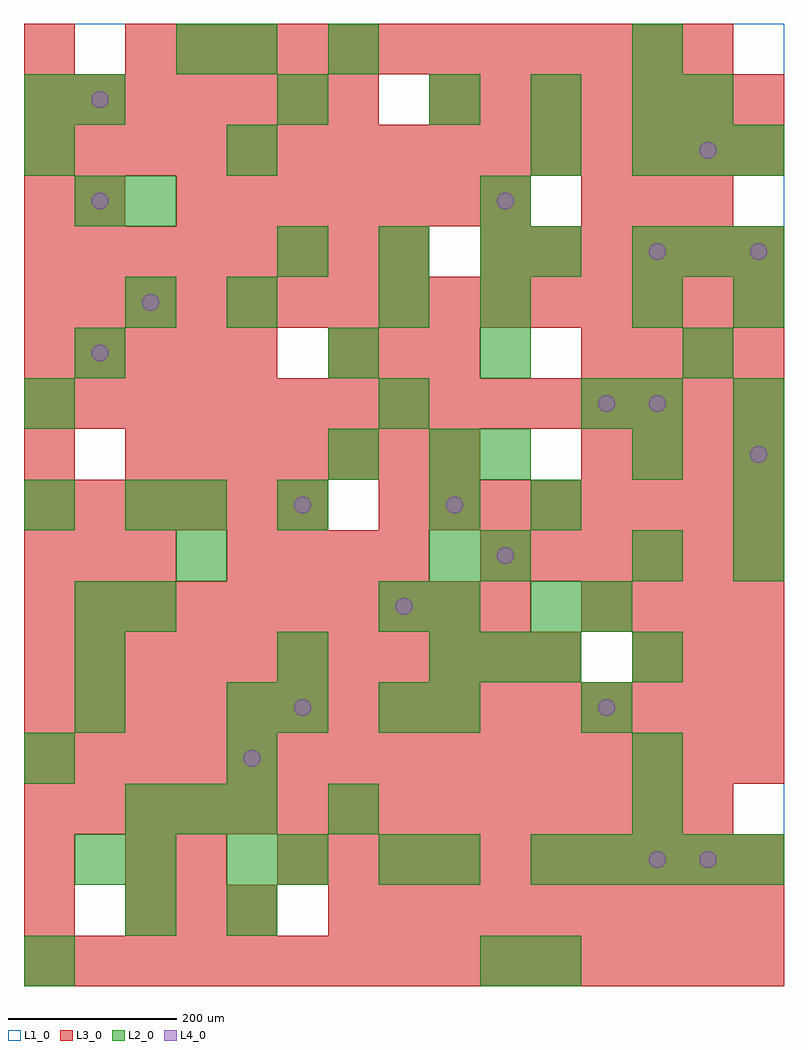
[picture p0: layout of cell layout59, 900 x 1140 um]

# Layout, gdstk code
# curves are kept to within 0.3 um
import gdstk
lib = gdstk.Library(unit=1e-6, precision=1e-09)
def R(c, l, rs):  # rectangles x0, y0, x1, y1
    for r in rs: c.add(gdstk.rectangle(r[:2], r[2:], *l))
def A(c, l, x, y, w, h, nx, ny, dx, dy):  # array of equal rectangles
    R(c, l, [(x+i*dx, y+j*dy, x+i*dx+w, y+j*dy+h) for i in range(nx) for j in range(ny)])
def P(c, l, *ps):  # polygons
    for p in ps: c.add(gdstk.Polygon(p, *l))
L1_0 = (1, 0)
L2_0 = (2, 0)
L3_0 = (3, 0)
L4_0 = (4, 0)

layout59 = lib.new_cell('layout59')
R(layout59, L1_0, [(0,0,900,1140)])
A(layout59, L2_0, 600, 120, 60, 60, 5, 1, 60, 0)
A(layout59, L2_0, 120, 180, 60, 60, 3, 1, 60, 0)
A(layout59, L2_0, 720, 240, 60, 60, 1, 4, 0, 120)
A(layout59, L2_0, 60, 300, 60, 60, 1, 3, 0, 60)
A(layout59, L2_0, 480, 360, 60, 60, 3, 1, 60, 0)
A(layout59, L2_0, 480, 420, 60, 60, 1, 4, 0, 60)
A(layout59, L2_0, 540, 480, 60, 60, 1, 3, 0, 120)
A(layout59, L2_0, 840, 480, 60, 60, 1, 4, 0, 60)
A(layout59, L2_0, 300, 840, 60, 60, 3, 1, 120, 0)
A(layout59, L2_0, 720, 840, 60, 60, 3, 2, 60, 120)
A(layout59, L2_0, 480, 1020, 60, 60, 3, 1, 120, 0)
R(layout59, L2_0, [(0,0,60,60), (540,0,600,60), (600,0,660,60), (120,60,180,120), (240,60,300,120), (60,120,120,180), (120,120,180,180), (240,120,300,180), (300,120,360,180), (420,120,480,180), (480,120,540,180), (360,180,420,240), (720,180,780,240), (0,240,60,300), (240,240,300,300), (240,300,300,360), (300,300,360,360), (420,300,480,360), (480,300,540,360), (660,300,720,360), (300,360,360,420), (120,420,180,480), (420,420,480,480), (600,420,660,480), (660,420,720,480), (180,480,240,540), (0,540,60,600), (120,540,180,600), (180,540,240,600), (300,540,360,600), (600,540,660,600), (360,600,420,660), (0,660,60,720), (420,660,480,720), (660,660,720,720), (720,660,780,720), (60,720,120,780), (360,720,420,780), (780,720,840,780), (120,780,180,840), (240,780,300,840), (420,780,480,840), (540,780,600,840), (720,780,780,840), (840,780,900,840), (600,840,660,900), (60,900,120,960), (120,900,180,960), (540,900,600,960), (0,960,60,1020), (240,960,300,1020), (600,960,660,1020), (0,1020,60,1080), (60,1020,120,1080), (300,1020,360,1080), (780,1020,840,1080), (180,1080,240,1140), (240,1080,300,1140), (360,1080,420,1140), (720,1080,780,1140)])
A(layout59, L3_0, 0, 0, 60, 60, 15, 2, 60, 240)
A(layout59, L3_0, 120, 60, 60, 60, 3, 1, 60, 0)
A(layout59, L3_0, 360, 60, 60, 60, 9, 1, 60, 0)
A(layout59, L3_0, 300, 120, 60, 60, 10, 1, 60, 0)
A(layout59, L3_0, 0, 180, 60, 60, 14, 1, 60, 0)
A(layout59, L3_0, 0, 300, 60, 60, 15, 2, 60, 360)
A(layout59, L3_0, 0, 360, 60, 60, 11, 1, 60, 0)
A(layout59, L3_0, 720, 360, 60, 60, 3, 1, 60, 0)
A(layout59, L3_0, 0, 420, 60, 60, 10, 1, 60, 0)
A(layout59, L3_0, 660, 420, 60, 60, 4, 2, 60, 180)
A(layout59, L3_0, 0, 480, 60, 60, 3, 1, 60, 0)
A(layout59, L3_0, 240, 480, 60, 60, 4, 1, 60, 0)
A(layout59, L3_0, 540, 480, 60, 60, 6, 2, 60, 360)
A(layout59, L3_0, 0, 540, 60, 60, 6, 1, 60, 0)
A(layout59, L3_0, 420, 540, 60, 60, 8, 1, 60, 0)
A(layout59, L3_0, 120, 600, 60, 60, 7, 1, 60, 0)
A(layout59, L3_0, 0, 720, 60, 60, 5, 1, 60, 0)
A(layout59, L3_0, 360, 720, 60, 60, 3, 1, 60, 0)
A(layout59, L3_0, 660, 720, 60, 60, 4, 1, 60, 0)
A(layout59, L3_0, 0, 780, 60, 60, 15, 2, 60, 180)
A(layout59, L3_0, 0, 840, 60, 60, 8, 1, 60, 0)
A(layout59, L3_0, 180, 900, 60, 60, 7, 1, 60, 0)
A(layout59, L3_0, 660, 900, 60, 60, 3, 1, 60, 0)
A(layout59, L3_0, 0, 1020, 60, 60, 7, 1, 60, 0)
A(layout59, L3_0, 480, 1020, 60, 60, 7, 1, 60, 0)
A(layout59, L3_0, 120, 1080, 60, 60, 12, 1, 60, 0)
R(layout59, L3_0, [(0,60,60,120), (0,120,60,180), (120,120,180,180), (180,120,240,180), (0,600,60,660), (0,900,60,960), (60,900,120,960), (0,1080,60,1140)])
P(layout59, L4_0, [(100,750),(99.239,753.827),(97.071,757.071),(93.827,759.239),(90,760),(86.173,759.239),(82.929,757.071),(80.761,753.827),(80,750),(80.761,746.173),(82.929,742.929),(86.173,740.761),(90,740),(93.827,740.761),(97.071,742.929),(99.239,746.173)],
  [(100,930),(99.239,933.827),(97.071,937.071),(93.827,939.239),(90,940),(86.173,939.239),(82.929,937.071),(80.761,933.827),(80,930),(80.761,926.173),(82.929,922.929),(86.173,920.761),(90,920),(93.827,920.761),(97.071,922.929),(99.239,926.173)],
  [(100,1050),(99.239,1053.827),(97.071,1057.071),(93.827,1059.239),(90,1060),(86.173,1059.239),(82.929,1057.071),(80.761,1053.827),(80,1050),(80.761,1046.173),(82.929,1042.929),(86.173,1040.761),(90,1040),(93.827,1040.761),(97.071,1042.929),(99.239,1046.173)],
  [(160,810),(159.239,813.827),(157.071,817.071),(153.827,819.239),(150,820),(146.173,819.239),(142.929,817.071),(140.761,813.827),(140,810),(140.761,806.173),(142.929,802.929),(146.173,800.761),(150,800),(153.827,800.761),(157.071,802.929),(159.239,806.173)],
  [(280,270),(279.239,273.827),(277.071,277.071),(273.827,279.239),(270,280),(266.173,279.239),(262.929,277.071),(260.761,273.827),(260,270),(260.761,266.173),(262.929,262.929),(266.173,260.761),(270,260),(273.827,260.761),(277.071,262.929),(279.239,266.173)],
  [(340,330),(339.239,333.827),(337.071,337.071),(333.827,339.239),(330,340),(326.173,339.239),(322.929,337.071),(320.761,333.827),(320,330),(320.761,326.173),(322.929,322.929),(326.173,320.761),(330,320),(333.827,320.761),(337.071,322.929),(339.239,326.173)],
  [(340,570),(339.239,573.827),(337.071,577.071),(333.827,579.239),(330,580),(326.173,579.239),(322.929,577.071),(320.761,573.827),(320,570),(320.761,566.173),(322.929,562.929),(326.173,560.761),(330,560),(333.827,560.761),(337.071,562.929),(339.239,566.173)],
  [(460,450),(459.239,453.827),(457.071,457.071),(453.827,459.239),(450,460),(446.173,459.239),(442.929,457.071),(440.761,453.827),(440,450),(440.761,446.173),(442.929,442.929),(446.173,440.761),(450,440),(453.827,440.761),(457.071,442.929),(459.239,446.173)],
  [(520,570),(519.239,573.827),(517.071,577.071),(513.827,579.239),(510,580),(506.173,579.239),(502.929,577.071),(500.761,573.827),(500,570),(500.761,566.173),(502.929,562.929),(506.173,560.761),(510,560),(513.827,560.761),(517.071,562.929),(519.239,566.173)],
  [(580,510),(579.239,513.827),(577.071,517.071),(573.827,519.239),(570,520),(566.173,519.239),(562.929,517.071),(560.761,513.827),(560,510),(560.761,506.173),(562.929,502.929),(566.173,500.761),(570,500),(573.827,500.761),(577.071,502.929),(579.239,506.173)],
  [(580,930),(579.239,933.827),(577.071,937.071),(573.827,939.239),(570,940),(566.173,939.239),(562.929,937.071),(560.761,933.827),(560,930),(560.761,926.173),(562.929,922.929),(566.173,920.761),(570,920),(573.827,920.761),(577.071,922.929),(579.239,926.173)],
  [(700,330),(699.239,333.827),(697.071,337.071),(693.827,339.239),(690,340),(686.173,339.239),(682.929,337.071),(680.761,333.827),(680,330),(680.761,326.173),(682.929,322.929),(686.173,320.761),(690,320),(693.827,320.761),(697.071,322.929),(699.239,326.173)],
  [(700,690),(699.239,693.827),(697.071,697.071),(693.827,699.239),(690,700),(686.173,699.239),(682.929,697.071),(680.761,693.827),(680,690),(680.761,686.173),(682.929,682.929),(686.173,680.761),(690,680),(693.827,680.761),(697.071,682.929),(699.239,686.173)],
  [(760,150),(759.239,153.827),(757.071,157.071),(753.827,159.239),(750,160),(746.173,159.239),(742.929,157.071),(740.761,153.827),(740,150),(740.761,146.173),(742.929,142.929),(746.173,140.761),(750,140),(753.827,140.761),(757.071,142.929),(759.239,146.173)],
  [(760,690),(759.239,693.827),(757.071,697.071),(753.827,699.239),(750,700),(746.173,699.239),(742.929,697.071),(740.761,693.827),(740,690),(740.761,686.173),(742.929,682.929),(746.173,680.761),(750,680),(753.827,680.761),(757.071,682.929),(759.239,686.173)],
  [(760,870),(759.239,873.827),(757.071,877.071),(753.827,879.239),(750,880),(746.173,879.239),(742.929,877.071),(740.761,873.827),(740,870),(740.761,866.173),(742.929,862.929),(746.173,860.761),(750,860),(753.827,860.761),(757.071,862.929),(759.239,866.173)],
  [(820,150),(819.239,153.827),(817.071,157.071),(813.827,159.239),(810,160),(806.173,159.239),(802.929,157.071),(800.761,153.827),(800,150),(800.761,146.173),(802.929,142.929),(806.173,140.761),(810,140),(813.827,140.761),(817.071,142.929),(819.239,146.173)],
  [(820,990),(819.239,993.827),(817.071,997.071),(813.827,999.239),(810,1000),(806.173,999.239),(802.929,997.071),(800.761,993.827),(800,990),(800.761,986.173),(802.929,982.929),(806.173,980.761),(810,980),(813.827,980.761),(817.071,982.929),(819.239,986.173)],
  [(880,630),(879.239,633.827),(877.071,637.071),(873.827,639.239),(870,640),(866.173,639.239),(862.929,637.071),(860.761,633.827),(860,630),(860.761,626.173),(862.929,622.929),(866.173,620.761),(870,620),(873.827,620.761),(877.071,622.929),(879.239,626.173)],
  [(880,870),(879.239,873.827),(877.071,877.071),(873.827,879.239),(870,880),(866.173,879.239),(862.929,877.071),(860.761,873.827),(860,870),(860.761,866.173),(862.929,862.929),(866.173,860.761),(870,860),(873.827,860.761),(877.071,862.929),(879.239,866.173)])

lib.write_gds('layout59.gds')
